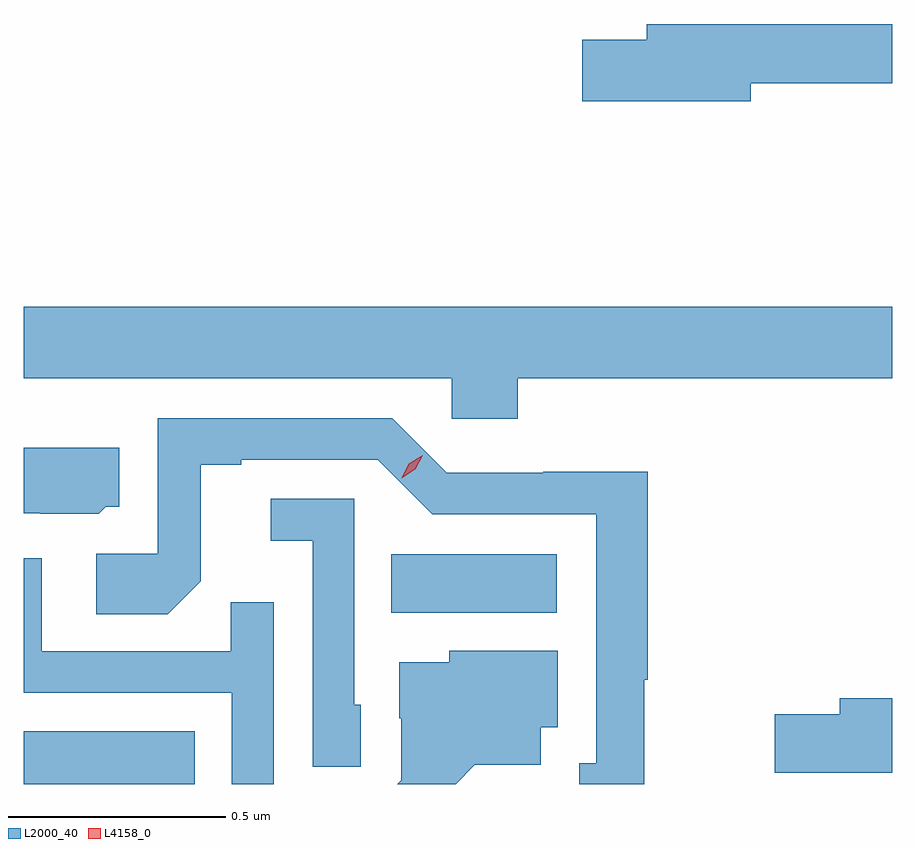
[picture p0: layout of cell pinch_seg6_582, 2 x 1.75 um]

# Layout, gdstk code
import gdstk
lib = gdstk.Library(unit=1e-6, precision=1e-09)
def R(c, l, rs):  # rectangles x0, y0, x1, y1
    for r in rs: c.add(gdstk.rectangle(r[:2], r[2:], *l))
def P(c, l, *ps):  # polygons
    for p in ps: c.add(gdstk.Polygon(p, *l))
L2000_40 = (2000, 40)
L4158_0 = (4158, 0)

pinch_seg6_582 = lib.new_cell('pinch_seg6_582')
R(pinch_seg6_582, L2000_40, [(603.61,970.377,604.004,970.498), (604.456,970.772,604.837,970.906)])
P(pinch_seg6_582, L2000_40, [(605.284,971.992),(605.61,971.992),(605.61,972.128),(605.045,972.128),(605.045,972.092),(604.896,972.092),(604.896,971.95),(605.284,971.95)],
  [(604.748,971.312),(605.61,971.312),(605.61,971.476),(603.61,971.476),(603.61,971.312),(604.596,971.312),(604.596,971.219),(604.748,971.219)],
  [(605.039,970.617),(605.047,970.617),(605.047,971.096),(604.806,971.096),(604.806,971.094),(604.584,971.094),(604.458,971.22),(603.918,971.22),(603.918,970.908),(603.777,970.908),(603.777,970.768),(603.941,970.768),(604.017,970.844),(604.017,971.112),(604.111,971.112),(604.111,971.124),(604.425,971.124),(604.551,970.998),(604.928,970.998),(604.928,970.425),(604.889,970.425),(604.889,970.377),(605.039,970.377)],
  [(603.798,971.016),(603.829,971.016),(603.829,971.152),(603.61,971.152),(603.61,971.001),(603.648,971.001),(603.648,971),(603.782,971)],
  [(604.386,970.56),(604.371,970.56),(604.371,971.034),(604.179,971.034),(604.179,970.937),(604.275,970.937),(604.275,970.417),(604.386,970.417)],
  [(604.185,970.796),(604.087,970.796),(604.087,970.683),(603.651,970.683),(603.651,970.897),(603.61,970.897),(603.61,970.587),(604.089,970.587),(604.089,970.377),(604.185,970.377)],
  [(604.649,970.421),(604.801,970.421),(604.801,970.508),(604.84,970.508),(604.84,970.684),(604.59,970.684),(604.59,970.657),(604.475,970.657),(604.475,970.528),(604.479,970.528),(604.479,970.386),(604.47,970.377),(604.605,970.377)],
  [(605.61,970.574),(605.489,970.574),(605.489,970.538),(605.34,970.538),(605.34,970.403),(605.61,970.403)])
P(pinch_seg6_582, L4158_0, [(604.48,971.082),(604.48,971.083),(604.497,971.115),(604.529,971.134),(604.529,971.134),(604.529,971.134),(604.512,971.102),(604.48,971.082)])

lib.write_gds('pinch_seg6_582.gds')
